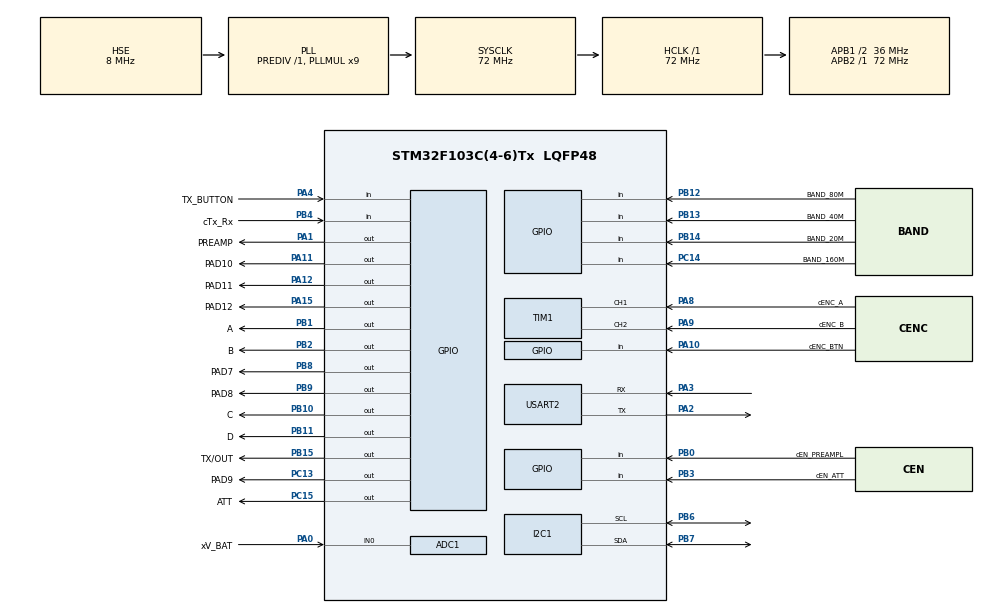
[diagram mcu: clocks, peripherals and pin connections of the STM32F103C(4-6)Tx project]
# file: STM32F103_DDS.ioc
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ADC1.Channel-0\#ChannelRegularConversion=ADC_CHANNEL_0
ADC1.NbrOfConversionFlag=1
ADC1.Rank-0\#ChannelRegularConversion=1
ADC1.SamplingTime-0\#ChannelRegularConversion=ADC_SAMPLETIME_1CYCLE_5
ADC1.master=1
Mcu.Family=STM32F1
Mcu.Name=STM32F103C(4-6)Tx
Mcu.Package=LQFP48
NVIC.PriorityGroup=NVIC_PRIORITYGROUP_4
NVIC.TIM2_IRQn=true\:0\:0\:false\:false\:true\:true\:true\:true
PA0-WKUP.GPIO_Label=xV_BAT
PA0-WKUP.Signal=ADCx_IN0
PA1.GPIO_Label=PREAMP
PA1.Signal=GPIO_Output
PA10.GPIO_Label=cENC_BTN
PA10.Signal=GPIO_Input
PA11.GPIO_Label=PAD10
PA11.Signal=GPIO_Output
PA12.GPIO_Label=PAD11
PA12.Signal=GPIO_Output
PA13.Mode=Serial_Wire
PA13.Signal=SYS_JTMS-SWDIO
PA14.Mode=Serial_Wire
PA14.Signal=SYS_JTCK-SWCLK
PA15.GPIO_Label=PAD12
PA15.Signal=GPIO_Output
PA2.Mode=Asynchronous
PA2.Signal=USART2_TX
PA3.Mode=Asynchronous
PA3.Signal=USART2_RX
PA4.GPIO_Label=TX_BUTTON
PA4.GPIO_PuPd=GPIO_PULLUP
PA4.Signal=GPIO_Input
PA8.GPIO_Label=cENC_A
PA8.Signal=S_TIM1_CH1
PA9.GPIO_Label=cENC_B
PA9.Signal=S_TIM1_CH2
PB0.GPIO_Label=cEN_PREAMPL
PB0.GPIO_PuPd=GPIO_PULLUP
PB0.Signal=GPIO_Input
PB1.GPIO_Label=A
PB1.GPIO_PuPd=GPIO_NOPULL
PB1.Signal=GPIO_Output
PB10.GPIO_Label=C
PB10.GPIO_PuPd=GPIO_NOPULL
PB10.Signal=GPIO_Output
PB11.GPIO_Label=D
PB11.GPIO_PuPd=GPIO_NOPULL
PB11.Signal=GPIO_Output
PB12.GPIO_Label=BAND_80M
PB12.GPIO_PuPd=GPIO_PULLUP
PB12.Signal=GPIO_Input
PB13.GPIO_Label=BAND_40M
PB13.GPIO_PuPd=GPIO_PULLUP
PB13.Signal=GPIO_Input
PB14.GPIO_Label=BAND_20M
PB14.GPIO_PuPd=GPIO_PULLUP
PB14.Signal=GPIO_Input
PB15.GPIO_Label=TX/OUT
PB15.GPIO_PuPd=GPIO_PULLDOWN
PB15.GPIO_Speed=GPIO_SPEED_FREQ_HIGH
PB15.Signal=GPIO_Output
PB2.GPIO_Label=B
PB2.GPIO_PuPd=GPIO_NOPULL
PB2.Signal=GPIO_Output
PB3.GPIO_Label=cEN_ATT
PB3.GPIO_PuPd=GPIO_PULLUP
PB3.Signal=GPIO_Input
PB4.GPIO_Label=cTx_Rx
PB4.GPIO_PuPd=GPIO_PULLUP
PB4.Signal=GPIO_Input
PB6.Mode=I2C
PB6.Signal=I2C1_SCL
PB7.Mode=I2C
PB7.Signal=I2C1_SDA
PB8.GPIO_Label=PAD7
PB8.Signal=GPIO_Output
PB9.GPIO_Label=PAD8
PB9.Signal=GPIO_Output
PC13-TAMPER-RTC.GPIO_Label=PAD9
PC13-TAMPER-RTC.PinState=GPIO_PIN_SET
PC13-TAMPER-RTC.Signal=GPIO_Output
PC14-OSC32_IN.GPIO_Label=BAND_160M
PC14-OSC32_IN.GPIO_PuPd=GPIO_PULLUP
PC14-OSC32_IN.Signal=GPIO_Input
PC15-OSC32_OUT.GPIO_Label=ATT
PC15-OSC32_OUT.Signal=GPIO_Output
PD0-OSC_IN.Mode=HSE-External-Oscillator
PD0-OSC_IN.Signal=RCC_OSC_IN
PD1-OSC_OUT.Mode=HSE-External-Oscillator
PD1-OSC_OUT.Signal=RCC_OSC_OUT
ProjectManager.HeapSize=0x200
ProjectManager.StackSize=0x400
ProjectManager.TargetToolchain=STM32CubeIDE
RCC.ADCPresc=RCC_ADCPCLK2_DIV6
RCC.AHBFreq_Value=72000000
RCC.APB1CLKDivider=RCC_HCLK_DIV2
RCC.APB1Freq_Value=36000000
RCC.APB1TimFreq_Value=72000000
RCC.APB2Freq_Value=72000000
RCC.APB2TimFreq_Value=72000000
RCC.HCLKFreq_Value=72000000
RCC.PLLMUL=RCC_PLL_MUL9
RCC.PLLSourceVirtual=RCC_PLLSOURCE_HSE
RCC.SYSCLKFreq_VALUE=72000000
RCC.SYSCLKSource=RCC_SYSCLKSOURCE_PLLCLK
RCC.USBFreq_Value=72000000
SH.ADCx_IN0.0=ADC1_IN0,IN0
SH.S_TIM1_CH1.0=TIM1_CH1,Encoder_Interface
SH.S_TIM1_CH2.0=TIM1_CH2,Encoder_Interface
TIM2.Period=10000
TIM2.Prescaler=719
USART2.VirtualMode=VM_ASYNC
VP_TIM2_VS_ClockSourceINT.Mode=Internal
board=custom

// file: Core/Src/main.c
/* USER CODE BEGIN Header */
/**
 ******************************************************************************
 * @file           : main.c
 * @brief          : Main program body
 ******************************************************************************
 * @attention
 *
 * Copyright (c) 2023 STMicroelectronics.
 * All rights reserved.
 *
 * This software is licensed under terms that can be found in the LICENSE file
 * in the root directory of this software component.
 * If no LICENSE file comes with this software, it is provided AS-IS.
 *
 ******************************************************************************
 */
/* USER CODE END Header */
#include "main.h"
#include "adc.h"
#include "i2c.h"
#include "tim.h"
#include "usart.h"
#include "gpio.h"

/* USER CODE BEGIN Includes */
#include "band.h"
#include <string.h>
#include "driver.h"
#include <stdio.h>
#include "periph.h"
/* USER CODE END Includes */

/* USER CODE BEGIN PV */
extern uint8_t btn_pressed_flag;
extern uint8_t active_20m_band_flag;
extern uint8_t active_40m_band_flag;
extern uint8_t active_80m_band_flag;
/* USER CODE END PV */

void SystemClock_Config(void);
/* USER CODE BEGIN PFP */
void i2c_check_devices(void);
void set_band_after_start(void);
/* USER CODE END PFP */

/* USER CODE BEGIN 0 */
char UART_BUFFER[40] = { };
extern TM1638_Handler_t Handler;

/* USER CODE END 0 */

int main(void)
{

  /* MCU Configuration--------------------------------------------------------*/

  /* Reset of all peripherals, Initializes the Flash interface and the Systick. */
  HAL_Init();

  /* Configure the system clock */
  SystemClock_Config();

  /* Initialize all configured peripherals */
  MX_GPIO_Init();
  MX_I2C1_Init();
  MX_TIM1_Init();
  MX_USART2_UART_Init();
  MX_TIM2_Init();
  MX_ADC1_Init();
  /* USER CODE BEGIN 2 */

	//System Init
	i2c_check_devices();
	init_bands();
	set_band_after_start();
	HAL_TIM_Encoder_Start(&htim1, TIM_CHANNEL_ALL);
	HAL_TIM_Base_Start_IT(&htim2);
	TM1638_Platform_Init(&Handler);
	TM1638_Init(&Handler, TM1638DisplayTypeComAnode);
	TM1638_ConfigDisplay(&Handler, 6, TM1638DisplayStateON);

  /* USER CODE END 2 */

  /* Infinite loop */
  /* USER CODE BEGIN WHILE */
	while (1) {

		band_process();

    /* USER CODE END WHILE */

	}
}

void SystemClock_Config(void)
{
  RCC_OscInitTypeDef RCC_OscInitStruct = {0};
  RCC_ClkInitTypeDef RCC_ClkInitStruct = {0};
  RCC_PeriphCLKInitTypeDef PeriphClkInit = {0};

  /** Initializes the RCC Oscillators according to the specified parameters
  * in the RCC_OscInitTypeDef structure.
  */
  RCC_OscInitStruct.OscillatorType = RCC_OSCILLATORTYPE_HSE;
  RCC_OscInitStruct.HSEState = RCC_HSE_ON;
  RCC_OscInitStruct.HSEPredivValue = RCC_HSE_PREDIV_DIV1;
  RCC_OscInitStruct.HSIState = RCC_HSI_ON;
  RCC_OscInitStruct.PLL.PLLState = RCC_PLL_ON;
  RCC_OscInitStruct.PLL.PLLSource = RCC_PLLSOURCE_HSE;
  RCC_OscInitStruct.PLL.PLLMUL = RCC_PLL_MUL9;
  if (HAL_RCC_OscConfig(&RCC_OscInitStruct) != HAL_OK)
  {
    Error_Handler();
  }

  /** Initializes the CPU, AHB and APB buses clocks
  */
  RCC_ClkInitStruct.ClockType = RCC_CLOCKTYPE_HCLK|RCC_CLOCKTYPE_SYSCLK
                              |RCC_CLOCKTYPE_PCLK1|RCC_CLOCKTYPE_PCLK2;
  RCC_ClkInitStruct.SYSCLKSource = RCC_SYSCLKSOURCE_PLLCLK;
  RCC_ClkInitStruct.AHBCLKDivider = RCC_SYSCLK_DIV1;
  RCC_ClkInitStruct.APB1CLKDivider = RCC_HCLK_DIV2;
  RCC_ClkInitStruct.APB2CLKDivider = RCC_HCLK_DIV1;

  if (HAL_RCC_ClockConfig(&RCC_ClkInitStruct, FLASH_LATENCY_2) != HAL_OK)
  {
    Error_Handler();
  }
  PeriphClkInit.PeriphClockSelection = RCC_PERIPHCLK_ADC;
  PeriphClkInit.AdcClockSelection = RCC_ADCPCLK2_DIV6;
  if (HAL_RCCEx_PeriphCLKConfig(&PeriphClkInit) != HAL_OK)
  {
    Error_Handler();
  }
}

/* USER CODE BEGIN 4 */

void set_band_after_start(void) {
	active_20m_band_flag = 0;
	active_40m_band_flag = 0;
	active_80m_band_flag = 0;

	if (HAL_GPIO_ReadPin(BAND_20M_GPIO_Port, BAND_20M_Pin) == GPIO_PIN_RESET) {
		active_20m_band_flag = 1;
	}
	if (HAL_GPIO_ReadPin(BAND_40M_GPIO_Port, BAND_40M_Pin) == GPIO_PIN_RESET) {
		active_40m_band_flag = 1;
	}
	if (HAL_GPIO_ReadPin(BAND_80M_GPIO_Port, BAND_80M_Pin) == GPIO_PIN_RESET) {
		active_80m_band_flag = 1;
	}
	if (HAL_GPIO_ReadPin(BAND_80M_GPIO_Port, BAND_80M_Pin) == GPIO_PIN_RESET) {
		active_80m_band_flag = 1;
	}
}

void i2c_check_devices(void) {
	if (HAL_I2C_IsDeviceReady(&hi2c1, EEPRON_I2C_ADDRESS, 10, 100) == HAL_OK) {
		sprintf(UART_BUFFER, "Find 24C256: 0x%02X\r\n", EEPRON_I2C_ADDRESS);
		HAL_UART_Transmit(&huart2, (uint8_t*) UART_BUFFER, strlen(UART_BUFFER),
		HAL_MAX_DELAY);

	} else {
		sprintf(UART_BUFFER, "24C256 on I2C not found\r\n");
		HAL_UART_Transmit(&huart2, (uint8_t*) UART_BUFFER, strlen(UART_BUFFER),
		HAL_MAX_DELAY);
	}

	if (HAL_I2C_IsDeviceReady(&hi2c1, SI5351_I2C_ADDRESS, 10, 100) == HAL_OK) {
		sprintf(UART_BUFFER, "Find SI5351: 0x%02X\r\n", SI5351_I2C_ADDRESS);
		HAL_UART_Transmit(&huart2, (uint8_t*) UART_BUFFER, strlen(UART_BUFFER),
		HAL_MAX_DELAY);

	} else {
		sprintf(UART_BUFFER, "SI5351 on I2C not found\r\n");
		HAL_UART_Transmit(&huart2, (uint8_t*) UART_BUFFER, strlen(UART_BUFFER),
		HAL_MAX_DELAY);
	}

}
/* USER CODE END 4 */

void Error_Handler(void)
{
	__disable_irq();
	while (1) {
	}
}
